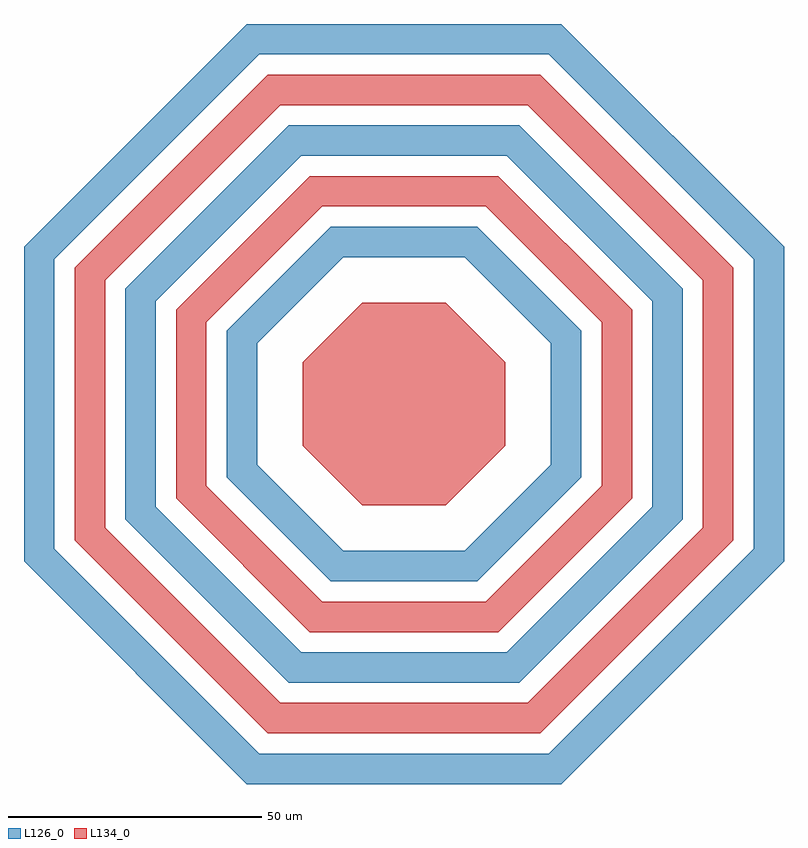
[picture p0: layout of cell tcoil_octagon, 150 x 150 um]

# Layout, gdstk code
import gdstk
lib = gdstk.Library(unit=1e-6, precision=1e-09)
def P(c, l, *ps):  # polygons
    for p in ps: c.add(gdstk.Polygon(p, *l))
L126_0 = (126, 0)
L134_0 = (134, 0)

tcoil_octagon = lib.new_cell('tcoil_octagon')
P(tcoil_octagon, L126_0, [(75,-31.066),(75,31.066),(31.066,75),(-31.066,75),(-75,31.066),(-75,-28.581),(-69,-28.581),(-69,28.581),(-28.581,69),(28.581,69),(69,28.581),(69,-28.581),(28.581,-69),(-28.581,-69),(-69,-28.581),(-75,-28.581),(-75,-31.066),(-31.066,-75),(31.066,-75)],
  [(55,-22.782),(55,22.782),(22.782,55),(-22.782,55),(-55,22.782),(-55,-20.296),(-49,-20.296),(-49,20.296),(-20.296,49),(20.296,49),(49,20.296),(49,-20.296),(20.296,-49),(-20.296,-49),(-49,-20.296),(-55,-20.296),(-55,-22.782),(-22.782,-55),(22.782,-55)],
  [(35,-14.497),(35,14.497),(14.497,35),(-14.497,35),(-35,14.497),(-35,-12.012),(-29,-12.012),(-29,12.012),(-12.012,29),(12.012,29),(29,12.012),(29,-12.012),(12.012,-29),(-12.012,-29),(-29,-12.012),(-35,-12.012),(-35,-14.497),(-14.497,-35),(14.497,-35)])
P(tcoil_octagon, L134_0, [(20,8.284),(8.284,20),(-8.284,20),(-20,8.284),(-20,-8.284),(-8.284,-20),(8.284,-20),(20,-8.284)],
  [(65,-26.924),(65,26.924),(26.924,65),(-26.924,65),(-65,26.924),(-65,-24.439),(-59,-24.439),(-59,24.439),(-24.439,59),(24.439,59),(59,24.439),(59,-24.439),(24.439,-59),(-24.439,-59),(-59,-24.439),(-65,-24.439),(-65,-26.924),(-26.924,-65),(26.924,-65)],
  [(45,-18.64),(45,18.64),(18.64,45),(-18.64,45),(-45,18.64),(-45,-16.154),(-39,-16.154),(-39,16.154),(-16.154,39),(16.154,39),(39,16.154),(39,-16.154),(16.154,-39),(-16.154,-39),(-39,-16.154),(-45,-16.154),(-45,-18.64),(-18.64,-45),(18.64,-45)])

lib.write_gds('tcoil_octagon.gds')
